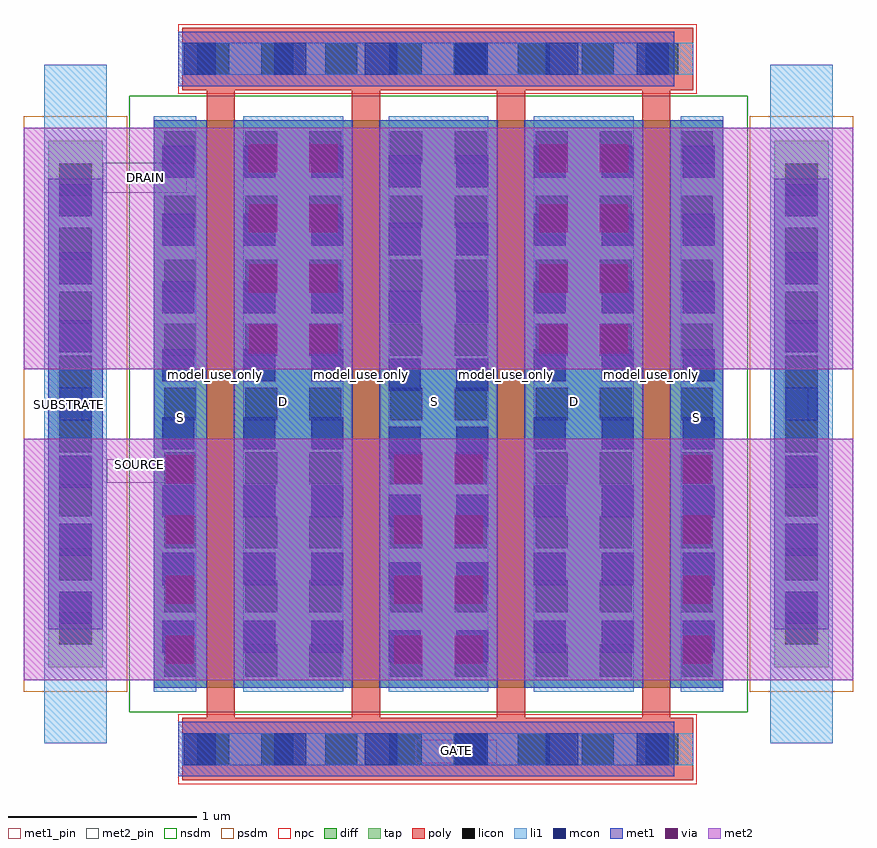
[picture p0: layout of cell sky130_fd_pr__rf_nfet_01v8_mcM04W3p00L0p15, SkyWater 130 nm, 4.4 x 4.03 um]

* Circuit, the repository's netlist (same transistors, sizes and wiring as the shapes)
* Copyright 2020 The SkyWater PDK Authors
*
* Licensed under the Apache License, Version 2.0 (the "License");
* you may not use this file except in compliance with the License.
* You may obtain a copy of the License at
*
*     https://www.apache.org/licenses/LICENSE-2.0
*
* Unless required by applicable law or agreed to in writing, software
* distributed under the License is distributed on an "AS IS" BASIS,
* WITHOUT WARRANTIES OR CONDITIONS OF ANY KIND, either express or implied.
* See the License for the specific language governing permissions and
* limitations under the License.
*
* SPDX-License-Identifier: Apache-2.0


.subckt sky130_fd_pr__rf_nfet_01v8_mcM04W3p00L0p15 DRAIN GATE SOURCE SUBSTRATE
X0 SOURCE GATE DRAIN SUBSTRATE sky130_fd_pr__nfet_01v8 w=3.01e+06u l=150000u
X1 DRAIN GATE SOURCE SUBSTRATE sky130_fd_pr__nfet_01v8 w=3.01e+06u l=150000u
X2 DRAIN GATE SOURCE SUBSTRATE sky130_fd_pr__nfet_01v8 w=3.01e+06u l=150000u
X3 SOURCE GATE DRAIN SUBSTRATE sky130_fd_pr__nfet_01v8 w=3.01e+06u l=150000u
.ends

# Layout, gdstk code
import gdstk
lib = gdstk.Library(unit=1e-6, precision=1e-09)
def R(c, l, rs):  # rectangles x0, y0, x1, y1
    for r in rs: c.add(gdstk.rectangle(r[:2], r[2:], *l))
def A(c, l, x, y, w, h, nx, ny, dx, dy):  # array of equal rectangles
    R(c, l, [(x+i*dx, y+j*dy, x+i*dx+w, y+j*dy+h) for i in range(nx) for j in range(ny)])
diff = (65, 20)
tap = (65, 44)
poly = (66, 20)
licon = (66, 44)
li1 = (67, 20)
mcon = (67, 44)
met1_pin = (68, 16)
met1 = (68, 20)
via = (68, 44)
met2_pin = (69, 16)
met2 = (69, 20)
nsdm = (93, 44)
psdm = (94, 20)
npc = (95, 20)

sky130_fd_pr__rf_nfet_01 = lib.new_cell('sky130_fd_pr__rf_nfet_01v8_mcM04W3p00L0p15')
A(sky130_fd_pr__rf_nfet_01, diff, 0.97, 0.51, 0.15, 3.01, 4, 1, 0.77, 0)
A(sky130_fd_pr__rf_nfet_01, diff, 1.12, 0.51, 0.62, 3.01, 3, 1, 0.77, 0)
R(sky130_fd_pr__rf_nfet_01, diff, [(0.69,0.51,0.97,3.52), (3.43,0.51,3.71,3.52)])
R(sky130_fd_pr__rf_nfet_01, tap, [(0.13,0.62,0.42,3.41), (3.98,0.62,4.27,3.41)])
A(sky130_fd_pr__rf_nfet_01, poly, 0.97, 0.35, 0.15, 3.33, 4, 1, 0.77, 0)
R(sky130_fd_pr__rf_nfet_01, poly, [(0.84,0.02,3.55,0.35), (0.84,3.68,3.55,4.01)])
A(sky130_fd_pr__rf_nfet_01, licon, 0.92, 0.1, 0.17, 0.17, 8, 2, 0.34, 3.66)
A(sky130_fd_pr__rf_nfet_01, licon, 0.745, 0.57, 0.17, 0.17, 1, 9, 0, 0.34)
A(sky130_fd_pr__rf_nfet_01, licon, 1.175, 0.57, 0.17, 0.17, 1, 9, 0, 0.34)
A(sky130_fd_pr__rf_nfet_01, licon, 1.515, 0.57, 0.17, 0.17, 1, 9, 0, 0.34)
A(sky130_fd_pr__rf_nfet_01, licon, 1.945, 0.57, 0.17, 0.17, 1, 9, 0, 0.34)
A(sky130_fd_pr__rf_nfet_01, licon, 2.285, 0.57, 0.17, 0.17, 1, 9, 0, 0.34)
A(sky130_fd_pr__rf_nfet_01, licon, 2.715, 0.57, 0.17, 0.17, 1, 9, 0, 0.34)
A(sky130_fd_pr__rf_nfet_01, licon, 3.055, 0.57, 0.17, 0.17, 1, 9, 0, 0.34)
A(sky130_fd_pr__rf_nfet_01, licon, 3.485, 0.57, 0.17, 0.17, 1, 9, 0, 0.34)
A(sky130_fd_pr__rf_nfet_01, licon, 0.19, 0.74, 0.17, 0.17, 1, 8, 0, 0.34)
A(sky130_fd_pr__rf_nfet_01, licon, 4.04, 0.74, 0.17, 0.17, 1, 8, 0, 0.34)
A(sky130_fd_pr__rf_nfet_01, li1, 1.165, 0.49, 0.53, 3.05, 3, 1, 0.77, 0)
R(sky130_fd_pr__rf_nfet_01, li1, [(0.84,0.1,3.55,0.27), (0.85,0.1,3.42,0.27), (0.11,0.215,0.44,0.74), (3.96,0.215,4.29,0.74), (0.69,0.49,0.915,3.54), (3.485,0.49,3.71,3.54), (0.11,0.74,0.44,3.29), (3.96,0.74,4.29,3.29), (0.11,3.29,0.44,3.815), (3.96,3.29,4.29,3.815), (0.84,3.76,3.55,3.93), (0.85,3.76,3.42,3.93)])
A(sky130_fd_pr__rf_nfet_01, mcon, 0.85, 0.1, 0.17, 0.17, 6, 2, 0.48, 3.66)
A(sky130_fd_pr__rf_nfet_01, mcon, 1.935, 0.645, 0.17, 0.17, 1, 8, 0, 0.36)
A(sky130_fd_pr__rf_nfet_01, mcon, 2.295, 0.645, 0.17, 0.17, 1, 8, 0, 0.36)
A(sky130_fd_pr__rf_nfet_01, mcon, 0.735, 0.695, 0.17, 0.17, 1, 8, 0, 0.36)
A(sky130_fd_pr__rf_nfet_01, mcon, 1.165, 0.695, 0.17, 0.17, 1, 8, 0, 0.36)
A(sky130_fd_pr__rf_nfet_01, mcon, 1.525, 0.695, 0.17, 0.17, 1, 8, 0, 0.36)
A(sky130_fd_pr__rf_nfet_01, mcon, 2.705, 0.695, 0.17, 0.17, 1, 8, 0, 0.36)
A(sky130_fd_pr__rf_nfet_01, mcon, 3.065, 0.695, 0.17, 0.17, 1, 8, 0, 0.36)
A(sky130_fd_pr__rf_nfet_01, mcon, 3.495, 0.695, 0.17, 0.17, 1, 8, 0, 0.36)
A(sky130_fd_pr__rf_nfet_01, mcon, 0.19, 0.85, 0.17, 0.17, 1, 7, 0, 0.36)
A(sky130_fd_pr__rf_nfet_01, mcon, 4.04, 0.85, 0.17, 0.17, 1, 7, 0, 0.36)
R(sky130_fd_pr__rf_nfet_01, met1_pin, [(2.08,0.11,2.51,0.235), (0.18,1.85,0.31,2.185), (4.03,1.85,4.16,2.185)])
A(sky130_fd_pr__rf_nfet_01, met1, 1.115, 0.51, 0.63, 3.01, 3, 1, 0.77, 0)
R(sky130_fd_pr__rf_nfet_01, met1, [(0.82,0.04,3.45,0.33), (1.64,0.04,2.88,0.33), (0.69,0.51,0.97,3.52), (3.43,0.51,3.71,3.52), (1.885,0.55,2.515,1.77), (1.885,0.61,2.51,1.89), (0.13,0.82,0.42,3.21), (3.98,0.82,4.27,3.21), (0.13,1.445,0.42,2.685), (3.98,1.445,4.27,2.685), (1.12,2.14,1.745,3.42), (2.66,2.14,3.285,3.42), (1.115,2.26,1.745,3.48), (2.655,2.26,3.285,3.48), (0.82,3.7,3.45,3.99)])
A(sky130_fd_pr__rf_nfet_01, via, 0.755, 0.635, 0.15, 0.15, 1, 4, 0, 0.32)
A(sky130_fd_pr__rf_nfet_01, via, 1.965, 0.635, 0.15, 0.15, 1, 4, 0, 0.32)
A(sky130_fd_pr__rf_nfet_01, via, 2.285, 0.635, 0.15, 0.15, 1, 4, 0, 0.32)
A(sky130_fd_pr__rf_nfet_01, via, 3.495, 0.635, 0.15, 0.15, 1, 4, 0, 0.32)
A(sky130_fd_pr__rf_nfet_01, via, 1.195, 2.285, 0.15, 0.15, 1, 4, 0, 0.32)
A(sky130_fd_pr__rf_nfet_01, via, 1.515, 2.285, 0.15, 0.15, 1, 4, 0, 0.32)
A(sky130_fd_pr__rf_nfet_01, via, 2.735, 2.285, 0.15, 0.15, 1, 4, 0, 0.32)
A(sky130_fd_pr__rf_nfet_01, via, 3.055, 2.285, 0.15, 0.15, 1, 4, 0, 0.32)
R(sky130_fd_pr__rf_nfet_01, met2_pin, [(0.44,1.597,0.82,1.722), (0.42,3.135,0.865,3.295)])
R(sky130_fd_pr__rf_nfet_01, met2, [(0,0.55,4.4,1.83), (1.885,0.55,2.515,1.83), (0,1.497,1.24,1.802), (0,2.2,4.4,3.48), (1.115,2.2,1.745,3.48), (2.655,2.2,3.285,3.48), (0,3.065,1.24,3.37)])
A(sky130_fd_pr__rf_nfet_01, nsdm, 0.97, 0.38, 0.15, 3.27, 4, 1, 0.77, 0)
A(sky130_fd_pr__rf_nfet_01, nsdm, 1.12, 0.38, 0.62, 3.27, 3, 1, 0.77, 0)
R(sky130_fd_pr__rf_nfet_01, nsdm, [(0.56,0.38,0.97,3.65), (3.43,0.38,3.84,3.65)])
R(sky130_fd_pr__rf_nfet_01, psdm, [(0,0.49,0.55,3.54), (3.85,0.49,4.4,3.54)])
R(sky130_fd_pr__rf_nfet_01, npc, [(0.82,0,3.57,0.37), (0.82,3.66,3.57,4.03)])
sky130_fd_pr__rf_nfet_01.add(gdstk.Label('D', (2.92,2.03), layer=83, texttype=44))
sky130_fd_pr__rf_nfet_01.add(gdstk.Label('S', (0.83,1.945), layer=83, texttype=44))
sky130_fd_pr__rf_nfet_01.add(gdstk.Label('S', (2.18,2.03), layer=83, texttype=44))
sky130_fd_pr__rf_nfet_01.add(gdstk.Label('D', (1.38,2.03), layer=83, texttype=44))
sky130_fd_pr__rf_nfet_01.add(gdstk.Label('S', (3.57,1.945), layer=83, texttype=44))
sky130_fd_pr__rf_nfet_01.add(gdstk.Label('model_use_only', (1.02,2.17), layer=66, texttype=83))
sky130_fd_pr__rf_nfet_01.add(gdstk.Label('model_use_only', (1.79,2.17), layer=66, texttype=83))
sky130_fd_pr__rf_nfet_01.add(gdstk.Label('model_use_only', (2.56,2.17), layer=66, texttype=83))
sky130_fd_pr__rf_nfet_01.add(gdstk.Label('model_use_only', (3.33,2.17), layer=66, texttype=83))
sky130_fd_pr__rf_nfet_01.add(gdstk.Label('SUBSTRATE', (0.245,2.015), layer=68, texttype=5))
sky130_fd_pr__rf_nfet_01.add(gdstk.Label('GATE', (2.295,0.175), layer=68, texttype=5))
sky130_fd_pr__rf_nfet_01.add(gdstk.Label('SOURCE', (0.615,1.694), layer=69, texttype=5))
sky130_fd_pr__rf_nfet_01.add(gdstk.Label('DRAIN', (0.645,3.215), layer=69, texttype=5))

lib.write_gds('sky130_fd_pr__rf_nfet_01v8_mcM04W3p00L0p15.gds')
